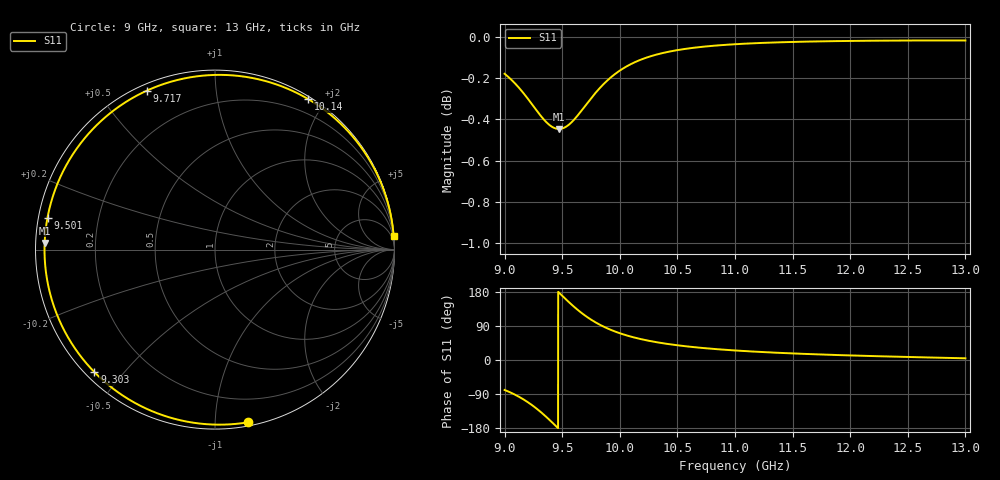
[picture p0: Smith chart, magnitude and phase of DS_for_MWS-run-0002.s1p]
! TOUCHSTONE file generated by CST DESIGN STUDIO
! Date and time: Tue Feb  4 14:05:32 2025
! Project name: C:\Work\MatlabApps\UnitCellOptimizationMatlab\CST\unitcell.cst
! Tree item: Tasks\Sweep1\SPara1\S-Parameters
! Header version: 2024
! Port assignment regex: !\s*Touchstone port\s*([0-9]+)\s*=\s*(CST MWS port|CST DES external port|CST DES block port)\s*(.+)\s* \(\"(.*)\"\)(\s*mode\s*([0-9]+))?.*
! Touchstone port assignment:
! Touchstone port 1 = CST DES external port 1 ("")
# GHz S MA R 50
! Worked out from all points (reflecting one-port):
!   4001 points, 9 GHz to 13 GHz, reference 50 ohm
!   lowest |S11| = -0.4 dB at 9.472 GHz (marker M1), VSWR 38.91, Z = 1.29 + j0.978 ohm
!   phase of S11 starts at -79 deg and turns -276 deg over the sweep
!   S11 on the Smith chart (normalised r, x): 9 GHz: 0.03, -1.21; 9.303 GHz: 0.03, -0.42; 9.501 GHz: 0.03, +0.09; 9.717 GHz: 0.03, +0.66; 10.14 GHz: 0.03, +1.79; 13 GHz: 1, +25
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9  0.9797 -79.1
9.074  0.9755 -89.1
9.171  0.9686 -105.3
9.239  0.963 -119.3
9.303  0.9577 -134.5
9.347  0.9545 -146.1
9.394  0.9518 -159.3
9.434  0.9503 -171.0
9.472  0.9499 177.8
9.5  0.9501 169.5
9.501  0.9502 169.2
9.553  0.9519 154.1
9.612  0.9555 138.0
9.664  0.9594 125.1
9.717  0.9637 113.3
9.773  0.968 102.3
9.836  0.9725 91.6
9.916  0.9774 80.3
10  0.9814 70.6
10.138  0.9863 58.4
10.301  0.99 47.9
10.5  0.9927 38.9
10.722  0.9946 31.6
11  0.996 25.2
11.5  0.9973 17.3
12  0.9979 12.0
12.5  0.9981 8.0
13  0.9981 4.5
